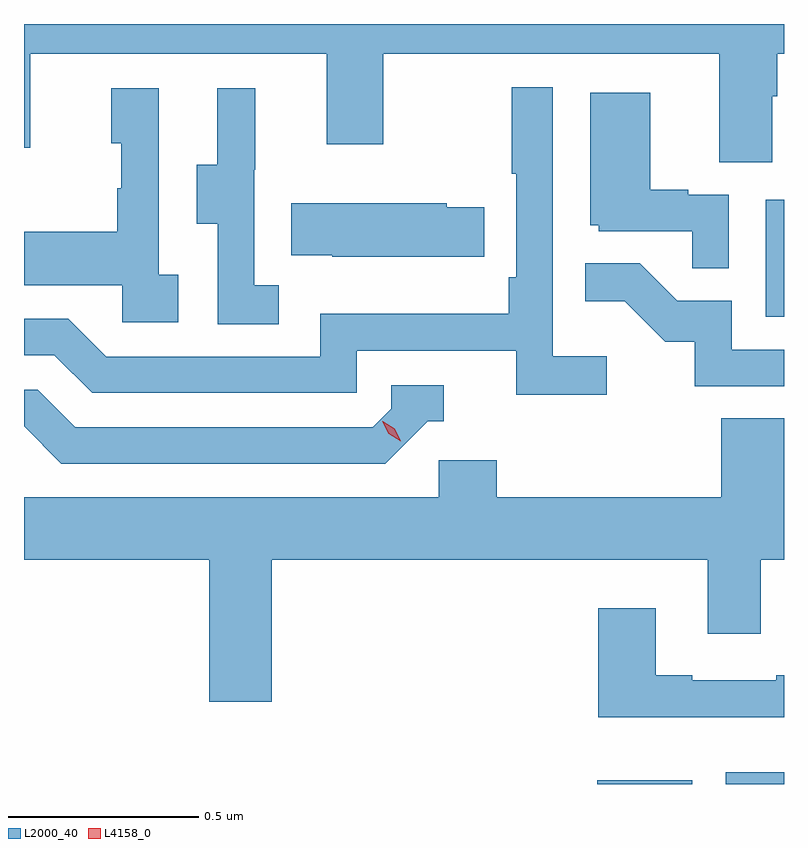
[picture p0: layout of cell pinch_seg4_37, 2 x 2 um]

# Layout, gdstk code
import gdstk
lib = gdstk.Library(unit=1e-6, precision=1e-09)
def R(c, l, rs):  # rectangles x0, y0, x1, y1
    for r in rs: c.add(gdstk.rectangle(r[:2], r[2:], *l))
def P(c, l, *ps):  # polygons
    for p in ps: c.add(gdstk.Polygon(p, *l))
L2000_40 = (2000, 40)
L4158_0 = (4158, 0)

pinch_seg4_37 = lib.new_cell('pinch_seg4_37')
R(pinch_seg4_37, L2000_40, [(1137.056,814.878,1137.307,814.888), (1137.395,814.878,1137.548,814.909), (1137.5,816.108,1137.548,816.415)])
P(pinch_seg4_37, L2000_40, [(1137.517,816.688),(1137.53,816.688),(1137.53,816.8),(1137.548,816.8),(1137.548,816.878),(1135.548,816.878),(1135.548,816.552),(1135.565,816.552),(1135.565,816.8),(1136.345,816.8),(1136.345,816.561),(1136.493,816.561),(1136.493,816.8),(1137.377,816.8),(1137.377,816.514),(1137.517,816.514)],
  [(1137.082,816.004),(1136.94,816.004),(1136.94,816.712),(1136.832,816.712),(1136.832,816.484),(1136.844,816.484),(1136.844,816.211),(1136.824,816.211),(1136.824,816.115),(1136.328,816.115),(1136.328,816.003),(1135.764,816.003),(1135.665,816.102),(1135.548,816.102),(1135.548,816.006),(1135.628,816.006),(1135.727,815.907),(1136.424,815.907),(1136.424,816.018),(1136.843,816.018),(1136.843,815.902),(1137.082,815.902)],
  [(1135.954,816.218),(1135.902,816.218),(1135.902,816.709),(1135.778,816.709),(1135.778,816.564),(1135.804,816.564),(1135.804,816.446),(1135.794,816.446),(1135.794,816.331),(1135.548,816.331),(1135.548,816.191),(1135.806,816.191),(1135.806,816.093),(1135.954,816.093)],
  [(1136.218,816.191),(1136.154,816.191),(1136.154,816.495),(1136.156,816.495),(1136.156,816.709),(1136.057,816.709),(1136.057,816.507),(1136.003,816.507),(1136.003,816.352),(1136.058,816.352),(1136.058,816.088),(1136.218,816.088)],
  [(1137.402,816.429),(1137.296,816.429),(1137.296,816.442),(1137.196,816.442),(1137.196,816.697),(1137.038,816.697),(1137.038,816.348),(1137.06,816.348),(1137.06,816.333),(1137.307,816.333),(1137.307,816.235),(1137.402,816.235)],
  [(1136.759,816.396),(1136.661,816.396),(1136.661,816.406),(1136.251,816.406),(1136.251,816.269),(1136.359,816.269),(1136.359,816.266),(1136.759,816.266)],
  [(1137.548,816.021),(1137.411,816.021),(1137.411,816.15),(1137.267,816.15),(1137.169,816.248),(1137.025,816.248),(1137.025,816.149),(1137.129,816.149),(1137.236,816.042),(1137.313,816.042),(1137.313,815.925),(1137.548,815.925)],
  [(1136.61,815.832),(1136.653,815.832),(1136.653,815.928),(1136.514,815.928),(1136.514,815.865),(1136.466,815.817),(1135.683,815.817),(1135.584,815.916),(1135.548,815.916),(1135.548,815.819),(1135.646,815.721),(1136.499,815.721)],
  [(1136.2,815.468),(1137.347,815.468),(1137.347,815.274),(1137.487,815.274),(1137.487,815.468),(1137.548,815.468),(1137.548,815.84),(1137.383,815.84),(1137.383,815.632),(1136.792,815.632),(1136.792,815.73),(1136.64,815.73),(1136.64,815.632),(1135.548,815.632),(1135.548,815.468),(1136.036,815.468),(1136.036,815.094),(1136.2,815.094)],
  [(1137.548,815.164),(1137.527,815.164),(1137.527,815.151),(1137.307,815.151),(1137.307,815.164),(1137.211,815.164),(1137.211,815.341),(1137.059,815.341),(1137.059,815.054),(1137.548,815.054)])
P(pinch_seg4_37, L4158_0, [(1136.539,815.78),(1136.508,815.8),(1136.491,815.832),(1136.491,815.833),(1136.492,815.833),(1136.523,815.813),(1136.539,815.781),(1136.539,815.78)])

lib.write_gds('pinch_seg4_37.gds')
